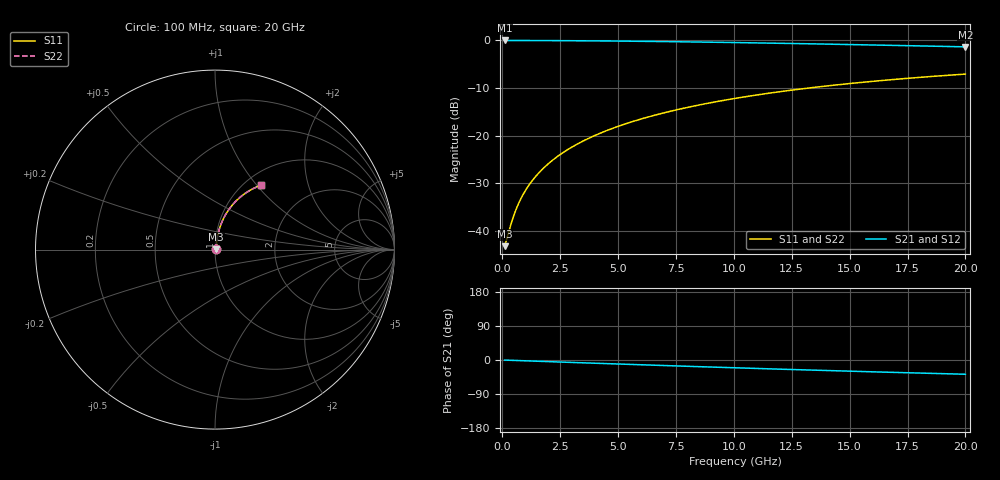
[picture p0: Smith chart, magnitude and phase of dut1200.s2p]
! Touchstone file exported from HFSS 2024.1.0
!  File:  C:/UserFiles/LocalFiles/RDL_TSV_Batchsim/temp_RDL_top_1200_1780239412.aedt
!  Generated:  11:00:22 PM May 31, 2026
!  Design:  RDL_top
!  Project:  temp_RDL_top_1200_1780239412
!  Setup:  Setup1
!  Solution:  Sweep
! Variables:
!  dtsv = 10.80580581um
!  hbump = 3um
!  htsv = 85.25um
!  ldown = 100um
!  lrdl = 468.48um
!  p = 40
!  p1 = 42.7um
!  rhole = 1um
!  t = 450um
!  tdown = 3.915915916um
!  trdl = 2.33um
!  wdown = 15.38538539um
!  wrdl = 11.17um
# GHz S MA R 50.000000
! Terminal data exported
! Port[1] = Box2_T1
! Port[2] = Box2_T2
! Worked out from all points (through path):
!   200 points, 100 MHz to 20 GHz, reference 50 ohm
!   highest |S21| = -0.06 dB at 100 MHz (marker M1); lowest = -1.4 dB at 20 GHz (marker M2)
!   group delay of S21, straight-line fit = 5.24 ps
!   lowest |S11| = -43.1 dB at 100 MHz (marker M3), VSWR 1.01, Z = 50.7 + j0.265 ohm
!   |S11| at or under -10 dB: start of sweep to 13.26 GHz
!   |S22| runs from -43.1 to -7.1 dB; largest |S21 - S12| = 3.3e-15
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0.1  0.006975 22.0  0.9935 -0.2  0.9935 -0.2  0.006975 22.0
! Gamma 0 0 0 0
! Port Impedance 50 0 50 0
0.2  0.008359 38.7  0.9935 -0.4  0.9935 -0.4  0.008359 38.7
0.4  0.0124 57.0  0.9933 -0.9  0.9933 -0.9  0.0124 57.0
0.6  0.01704 65.5  0.993 -1.3  0.993 -1.3  0.01704 65.5
0.7  0.01943 68.1  0.9928 -1.5  0.9928 -1.5  0.01943 68.1
0.9  0.02427 71.6  0.9925 -2.0  0.9925 -2.0  0.02427 71.6
1.2  0.03158 74.7  0.992 -2.6  0.992 -2.6  0.03158 74.7
1.4  0.03647 76.0  0.9916 -3.0  0.9916 -3.0  0.03647 76.0
1.7  0.04382 77.3  0.991 -3.7  0.991 -3.7  0.04382 77.3
2.2  0.05612 78.4  0.9898 -4.7  0.9898 -4.7  0.05612 78.4
2.8  0.07092 78.9  0.9881 -6.0  0.9881 -6.0  0.07092 78.9
3.5  0.08823 78.9  0.9857 -7.5  0.9857 -7.5  0.08822 78.9
4.2  0.1055 78.4  0.9828 -8.9  0.9828 -8.9  0.1055 78.4
5  0.1252 77.7  0.979 -10.6  0.979 -10.6  0.1252 77.7
5.9  0.1473 76.6  0.9742 -12.4  0.9742 -12.4  0.1473 76.6
6.8  0.1692 75.3  0.9687 -14.3  0.9687 -14.3  0.1692 75.3
8.3  0.2051 73.1  0.9584 -17.2  0.9584 -17.2  0.2051 73.1
10.1  0.2469 70.2  0.9444 -20.7  0.9444 -20.7  0.2469 70.2
11.7  0.2827 67.6  0.9309 -23.7  0.9309 -23.7  0.2827 67.5
13.4  0.3191 64.7  0.9155 -26.7  0.9155 -26.7  0.319 64.7
16.7  0.3841 59.4  0.8841 -32.4  0.8841 -32.4  0.3841 59.4
20  0.4416 54.3  0.8517 -37.6  0.8517 -37.6  0.4415 54.3
